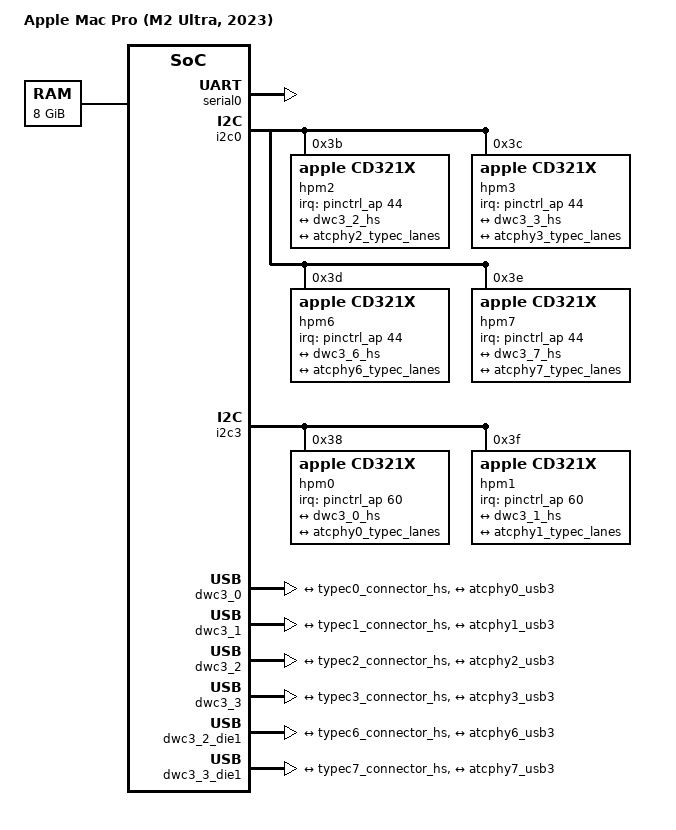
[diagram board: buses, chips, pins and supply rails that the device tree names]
// SPDX-License-Identifier: GPL-2.0+ OR MIT
/*
 * Mac Pro (M2 Ultra, 2023)
 *
 * target-type: J180d
 *
 * Copyright The Asahi Linux Contributors
 */

/dts-v1/;

#include "t6022.dtsi"
#include "t6022-jxxxd.dtsi"

/ {
	compatible = "apple,j180d", "apple,t6022", "apple,arm-platform";
	model = "Apple Mac Pro (M2 Ultra, 2023)";
	chassis-type = "server";

	aliases {
		atcphy0 = &atcphy0;
		atcphy1 = &atcphy1;
		atcphy2 = &atcphy2;
		atcphy3 = &atcphy3;
		atcphy4 = &atcphy0_die1;
		atcphy5 = &atcphy1_die1;
		atcphy6 = &atcphy2_die1;
		atcphy7 = &atcphy3_die1;
		nvram = &nvram;
		serial0 = &serial0;
	};

	chosen {
		#address-cells = <2>;
		#size-cells = <2>;
		ranges;

		stdout-path = "serial0";

		framebuffer0: framebuffer@0 {
			compatible = "apple,simple-framebuffer", "simple-framebuffer";
			reg = <0 0 0 0>; /* To be filled by loader */
			/* Format properties will be added by loader */
			status = "disabled";
			power-domains = <&ps_dispext0_cpu0_die1>, <&ps_dptx_phy_ps_die1>;
		};
	};

	memory@10000000000 {
		device_type = "memory";
		reg = <0x100 0 0x2 0>; /* To be filled by loader */
	};
};

&serial0 {
	status = "okay";
};

/* USB Type C Rear */
&i2c0 {
	hpm2: usb-pd@3b {
		compatible = "apple,cd321x";
		reg = <0x3b>;
		interrupt-parent = <&pinctrl_ap>;
		interrupts = <44 IRQ_TYPE_LEVEL_LOW>;
		interrupt-names = "irq";

		typec2: connector {
			compatible = "usb-c-connector";
			label = "USB-C Back 1";
			power-role = "dual";
			data-role = "dual";

			ports {
				#address-cells = <1>;
				#size-cells = <0>;
				port@0 {
					reg = <0>;
					typec2_connector_hs: endpoint {
						remote-endpoint = <&dwc3_2_hs>;
					};
				};
				port@1 {
					reg = <1>;
					typec2_connector_ss: endpoint {
						remote-endpoint = <&atcphy2_typec_lanes>;
					};
				};
			};
		};
	};

	hpm3: usb-pd@3c {
		compatible = "apple,cd321x";
		reg = <0x3c>;
		interrupt-parent = <&pinctrl_ap>;
		interrupts = <44 IRQ_TYPE_LEVEL_LOW>;
		interrupt-names = "irq";

		typec3: connector {
			compatible = "usb-c-connector";
			label = "USB-C Back 2";
			power-role = "dual";
			data-role = "dual";

			ports {
				#address-cells = <1>;
				#size-cells = <0>;
				port@0 {
					reg = <0>;
					typec3_connector_hs: endpoint {
						remote-endpoint = <&dwc3_3_hs>;
					};
				};
				port@1 {
					reg = <1>;
					typec3_connector_ss: endpoint {
						remote-endpoint = <&atcphy3_typec_lanes>;
					};
				};
			};
		};
	};

	/* hpm4 and hpm5 included from t6022-jxxxd.dtsi */

	hpm6: usb-pd@3d {
		compatible = "apple,cd321x";
		reg = <0x3d>;
		interrupt-parent = <&pinctrl_ap>;
		interrupts = <44 IRQ_TYPE_LEVEL_LOW>;
		interrupt-names = "irq";

		typec6: connector {
			compatible = "usb-c-connector";
			label = "USB-C Back 5";
			power-role = "dual";
			data-role = "dual";

			ports {
				#address-cells = <1>;
				#size-cells = <0>;
				port@0 {
					reg = <0>;
					typec6_connector_hs: endpoint {
						remote-endpoint = <&dwc3_6_hs>;
					};
				};
				port@1 {
					reg = <1>;
					typec6_connector_ss: endpoint {
						remote-endpoint = <&atcphy6_typec_lanes>;
					};
				};
			};
		};
	};

	hpm7: usb-pd@3e {
		compatible = "apple,cd321x";
		reg = <0x3e>;
		interrupt-parent = <&pinctrl_ap>;
		interrupts = <44 IRQ_TYPE_LEVEL_LOW>;
		interrupt-names = "irq";

		typec7: connector {
			compatible = "usb-c-connector";
			label = "USB-C Back 6";
			power-role = "dual";
			data-role = "dual";

			ports {
				#address-cells = <1>;
				#size-cells = <0>;
				port@0 {
					reg = <0>;
					typec7_connector_hs: endpoint {
						remote-endpoint = <&dwc3_7_hs>;
					};
				};
				port@1 {
					reg = <1>;
					typec7_connector_ss: endpoint {
						remote-endpoint = <&atcphy7_typec_lanes>;
					};
				};
			};
		};
	};
};

&typec4 {
	label = "USB-C Back 3";
};

&typec5 {
	label = "USB-C Back 4";
};

/* USB Type C Front */
&i2c3 {
	status = "okay";

	hpm0: usb-pd@38 {
		compatible = "apple,cd321x";
		reg = <0x38>;
		interrupt-parent = <&pinctrl_ap>;
		interrupts = <60 IRQ_TYPE_LEVEL_LOW>;
		interrupt-names = "irq";

		typec0: connector {
			compatible = "usb-c-connector";
			label = "USB-C Top Right";
			power-role = "dual";
			data-role = "dual";

			ports {
				#address-cells = <1>;
				#size-cells = <0>;
				port@0 {
					reg = <0>;
					typec0_connector_hs: endpoint {
						remote-endpoint = <&dwc3_0_hs>;
					};
				};
				port@1 {
					reg = <1>;
					typec0_connector_ss: endpoint {
						remote-endpoint = <&atcphy0_typec_lanes>;
					};
				};
			};
		};
	};

	hpm1: usb-pd@3f {
		compatible = "apple,cd321x";
		reg = <0x3f>;
		interrupt-parent = <&pinctrl_ap>;
		interrupts = <60 IRQ_TYPE_LEVEL_LOW>;
		interrupt-names = "irq";

		typec1: connector {
			compatible = "usb-c-connector";
			label = "USB-C Top Left";
			power-role = "dual";
			data-role = "dual";

			ports {
				#address-cells = <1>;
				#size-cells = <0>;
				port@0 {
					reg = <0>;
					typec1_connector_hs: endpoint {
						remote-endpoint = <&dwc3_1_hs>;
					};
				};
				port@1 {
					reg = <1>;
					typec1_connector_ss: endpoint {
						remote-endpoint = <&atcphy1_typec_lanes>;
					};
				};
			};
		};
	};
};

/* USB controllers */
&dwc3_0 {
	ports {
		#address-cells = <1>;
		#size-cells = <0>;

		port@0 {
			reg = <0>;
			dwc3_0_hs: endpoint {
				remote-endpoint = <&typec0_connector_hs>;
			};
		};

		port@1 {
			reg = <1>;
			dwc3_0_ss: endpoint {
				remote-endpoint = <&atcphy0_usb3>;
			};
		};
	};
};

&dwc3_1 {
	ports {
		#address-cells = <1>;
		#size-cells = <0>;

		port@0 {
			reg = <0>;
			dwc3_1_hs: endpoint {
				remote-endpoint = <&typec1_connector_hs>;
			};
		};

		port@1 {
			reg = <1>;
			dwc3_1_ss: endpoint {
				remote-endpoint = <&atcphy1_usb3>;
			};
		};
	};
};

&dwc3_2 {
	ports {
		#address-cells = <1>;
		#size-cells = <0>;

		port@0 {
			reg = <0>;
			dwc3_2_hs: endpoint {
				remote-endpoint = <&typec2_connector_hs>;
			};
		};

		port@1 {
			reg = <1>;
			dwc3_2_ss: endpoint {
				remote-endpoint = <&atcphy2_usb3>;
			};
		};
	};
};

&dwc3_3 {
	ports {
		#address-cells = <1>;
		#size-cells = <0>;

		port@0 {
			reg = <0>;
			dwc3_3_hs: endpoint {
				remote-endpoint = <&typec3_connector_hs>;
			};
		};

		port@1 {
			reg = <1>;
			dwc3_3_ss: endpoint {
				remote-endpoint = <&atcphy3_usb3>;
			};
		};
	};
};

/* USB controllers on die 1 */
&dwc3_2_die1 {
	ports {
		#address-cells = <1>;
		#size-cells = <0>;

		port@0 {
			reg = <0>;
			dwc3_6_hs: endpoint {
				remote-endpoint = <&typec6_connector_hs>;
			};
		};

		port@1 {
			reg = <1>;
			dwc3_6_ss: endpoint {
				remote-endpoint = <&atcphy6_usb3>;
			};
		};
	};
};

&dwc3_3_die1 {
	ports {
		#address-cells = <1>;
		#size-cells = <0>;

		port@0 {
			reg = <0>;
			dwc3_7_hs: endpoint {
				remote-endpoint = <&typec7_connector_hs>;
			};
		};

		port@1 {
			reg = <1>;
			dwc3_7_ss: endpoint {
				remote-endpoint = <&atcphy7_usb3>;
			};
		};
	};
};

/* Type-C PHYs */
&atcphy0 {
	ports {
		#address-cells = <1>;
		#size-cells = <0>;

		port@0 {
			reg = <0>;
			atcphy0_typec_lanes: endpoint {
				remote-endpoint = <&typec0_connector_ss>;
			};
		};

		port@1 {
			reg = <1>;
			atcphy0_usb3: endpoint {
				remote-endpoint = <&dwc3_0_ss>;
			};
		};
	};
};

&atcphy1 {
	ports {
		#address-cells = <1>;
		#size-cells = <0>;

		port@0 {
			reg = <0>;
			atcphy1_typec_lanes: endpoint {
				remote-endpoint = <&typec1_connector_ss>;
			};
		};

		port@1 {
			reg = <1>;
			atcphy1_usb3: endpoint {
				remote-endpoint = <&dwc3_1_ss>;
			};
		};
	};
};

&atcphy2 {
	ports {
		#address-cells = <1>;
		#size-cells = <0>;

		port@0 {
			reg = <0>;
			atcphy2_typec_lanes: endpoint {
				remote-endpoint = <&typec2_connector_ss>;
			};
		};

		port@1 {
			reg = <1>;
			atcphy2_usb3: endpoint {
				remote-endpoint = <&dwc3_2_ss>;
			};
		};
	};
};

&atcphy3 {
	ports {
		#address-cells = <1>;
		#size-cells = <0>;

		port@0 {
			reg = <0>;
			atcphy3_typec_lanes: endpoint {
				remote-endpoint = <&typec3_connector_ss>;
			};
		};

		port@1 {
			reg = <1>;
			atcphy3_usb3: endpoint {
				remote-endpoint = <&dwc3_3_ss>;
			};
		};
	};
};

&atcphy2_die1 {
	ports {
		#address-cells = <1>;
		#size-cells = <0>;

		port@0 {
			reg = <0>;
			atcphy6_typec_lanes: endpoint {
				remote-endpoint = <&typec6_connector_ss>;
			};
		};

		port@1 {
			reg = <1>;
			atcphy6_usb3: endpoint {
				remote-endpoint = <&dwc3_6_ss>;
			};
		};
	};
};

&atcphy3_die1 {
	ports {
		#address-cells = <1>;
		#size-cells = <0>;

		port@0 {
			reg = <0>;
			atcphy7_typec_lanes: endpoint {
				remote-endpoint = <&typec7_connector_ss>;
			};
		};

		port@1 {
			reg = <1>;
			atcphy7_usb3: endpoint {
				remote-endpoint = <&dwc3_7_ss>;
			};
		};
	};
};

/*
 * Delete unused PCIe nodes, the Mac Pro uses slightly different PCIe
 * controllers with a single port connected to a PM40100 PCIe switch
 */
/delete-node/ &pcie0;
/delete-node/ &pcie0_dart_0;
/delete-node/ &pcie0_dart_1;
/delete-node/ &pcie0_dart_2;
/delete-node/ &pcie0_dart_3;

&nco_clkref {
	clock-frequency = <1068000000>;
};

#include "spi1-nvram.dtsi"
